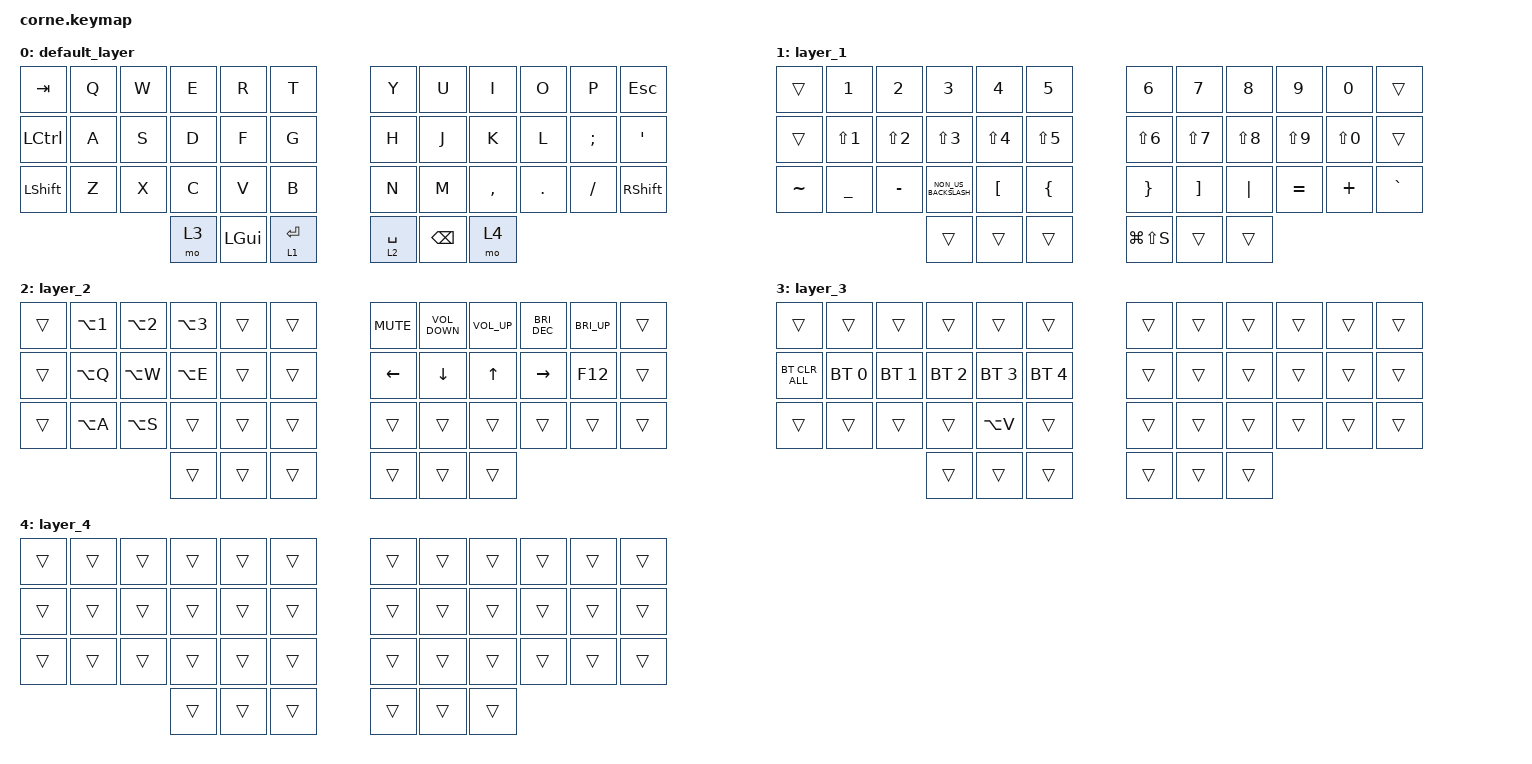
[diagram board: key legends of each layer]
/*
 * Copyright (c) 2020 The ZMK Contributors
 *
 * SPDX-License-Identifier: MIT
 */

#include <behaviors.dtsi>
#include <dt-bindings/zmk/bt.h>
#include <dt-bindings/zmk/keys.h>

/ {
    keymap {
        compatible = "zmk,keymap";

        default_layer {
            // -----------------------------------------------------------------------------------------
            // |  TAB |  Q  |  W  |  E  |  R  |  T  |   |  Y  |  U   |  I  |  O  |  P  | BKSP |
            // | CTRL |  A  |  S  |  D  |  F  |  G  |   |  H  |  J   |  K  |  L  |  ;  |  '   |
            // | SHFT |  Z  |  X  |  C  |  V  |  B  |   |  N  |  M   |  ,  |  .  |  /  | ESC  |
            //                    | GUI | LWR | SPC |   | ENT | RSE  | ALT |

            bindings = <
&kp TAB    &kp Q  &kp W  &kp E  &kp R         &kp T          &kp Y        &kp U          &kp I      &kp O    &kp P     &kp ESC
&kp LCTRL  &kp A  &kp S  &kp D  &kp F         &kp G          &kp H        &kp J          &kp K      &kp L    &kp SEMI  &kp SQT
&kp LSHFT  &kp Z  &kp X  &kp C  &kp V         &kp B          &kp N        &kp M          &kp COMMA  &kp DOT  &kp FSLH  &kp RIGHT_SHIFT
                         &mo 3  &kp LEFT_GUI  &lt 1 ENTER    &lt 2 SPACE  &kp BACKSPACE  &mo 4
            >;
        };

        layer_1 {
            bindings = <
&trans     &kp N1          &kp N2      &kp N3                &kp N4            &kp N5            &kp N6           &kp N7             &kp N8      &kp N9      &kp N0      &trans
&trans     &kp LS(N1)      &kp LS(N2)  &kp LS(N3)            &kp LS(N4)        &kp LS(N5)        &kp LS(N6)       &kp LS(N7)         &kp LS(N8)  &kp LS(N9)  &kp LS(N0)  &trans
&kp TILDE  &kp UNDERSCORE  &kp MINUS   &kp NON_US_BACKSLASH  &kp LEFT_BRACKET  &kp LEFT_BRACE    &kp RIGHT_BRACE  &kp RIGHT_BRACKET  &kp PIPE    &kp EQUAL   &kp PLUS    &kp GRAVE
                                       &trans                &trans            &trans            &kp LG(LS(S))    &trans             &trans
            >;
        };

        layer_2 {
            bindings = <
&trans  &kp LA(NUMBER_1)  &kp LA(NUMBER_2)  &kp LA(NUMBER_3)  &trans  &trans    &kp K_MUTE  &kp C_VOLUME_DOWN  &kp C_VOLUME_UP  &kp C_BRI_DEC  &kp C_BRI_UP  &trans
&trans  &kp LA(Q)         &kp LA(W)         &kp LA(E)         &trans  &trans    &kp LEFT    &kp DOWN           &kp UP           &kp RIGHT      &kp F12       &trans
&trans  &kp LA(A)         &kp LA(S)         &trans            &trans  &trans    &trans      &trans             &trans           &trans         &trans        &trans
                                            &trans            &trans  &trans    &trans      &trans             &trans
            >;
        };

        layer_3 {
            bindings = <
&trans          &trans        &trans        &trans        &trans        &trans          &trans  &trans  &trans  &trans  &trans  &trans
&bt BT_CLR_ALL  &bt BT_SEL 0  &bt BT_SEL 1  &bt BT_SEL 2  &bt BT_SEL 3  &bt BT_SEL 4    &trans  &trans  &trans  &trans  &trans  &trans
&trans          &trans        &trans        &trans        &kp LA(V)     &trans          &trans  &trans  &trans  &trans  &trans  &trans
                                            &trans        &trans        &trans          &trans  &trans  &trans
            >;
        };

        layer_4 {
            bindings = <
&trans  &trans  &trans  &trans  &trans  &trans    &trans  &trans  &trans  &trans  &trans  &trans
&trans  &trans  &trans  &trans  &trans  &trans    &trans  &trans  &trans  &trans  &trans  &trans
&trans  &trans  &trans  &trans  &trans  &trans    &trans  &trans  &trans  &trans  &trans  &trans
                        &trans  &trans  &trans    &trans  &trans  &trans
            >;
        };
    };
};
